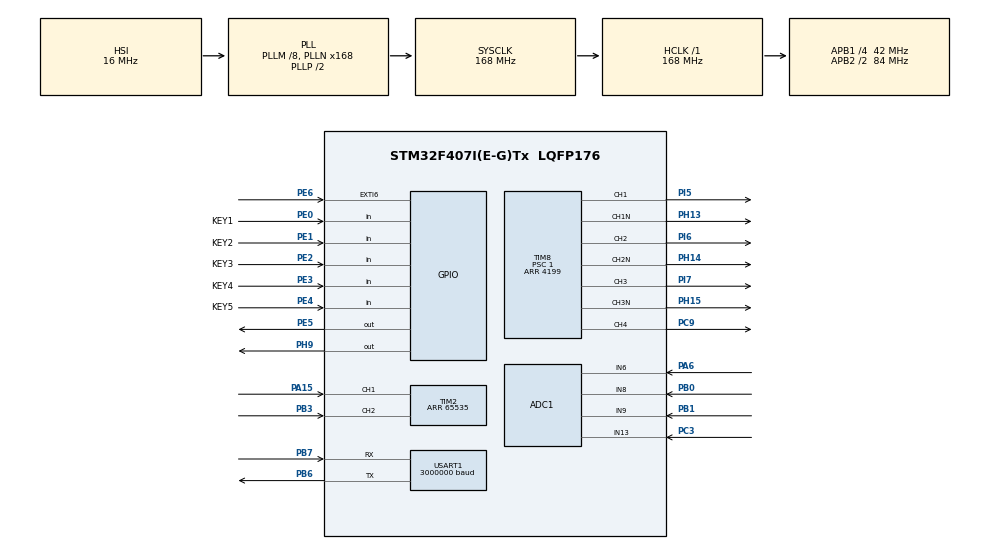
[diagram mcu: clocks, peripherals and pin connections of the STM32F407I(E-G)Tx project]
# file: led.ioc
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ADC1.Channel-0\#ChannelRegularConversion=ADC_CHANNEL_13
ADC1.Channel-10\#ChannelInjectedConversion=ADC_CHANNEL_9
ADC1.Channel-6\#ChannelInjectedConversion=ADC_CHANNEL_6
ADC1.Channel-9\#ChannelInjectedConversion=ADC_CHANNEL_8
ADC1.ContinuousConvMode=DISABLE
ADC1.DMAContinuousRequests=DISABLE
ADC1.EOCSelection=ADC_EOC_SEQ_CONV
ADC1.ExternalTrigConv=ADC_SOFTWARE_START
ADC1.ExternalTrigInjecConv=ADC_EXTERNALTRIGINJECCONV_T8_CC4
ADC1.InjNumberOfConversion=3
ADC1.InjectedOffset-10\#ChannelInjectedConversion=0
ADC1.InjectedOffset-6\#ChannelInjectedConversion=0
ADC1.InjectedOffset-9\#ChannelInjectedConversion=0
ADC1.InjectedRank-10\#ChannelInjectedConversion=3
ADC1.InjectedRank-6\#ChannelInjectedConversion=1
ADC1.InjectedRank-9\#ChannelInjectedConversion=2
ADC1.NbrOfConversion=1
ADC1.NbrOfConversionFlag=1
ADC1.Rank-0\#ChannelRegularConversion=1
ADC1.SamplingTime-0\#ChannelRegularConversion=ADC_SAMPLETIME_15CYCLES
ADC1.SamplingTime-10\#ChannelInjectedConversion=ADC_SAMPLETIME_3CYCLES
ADC1.SamplingTime-6\#ChannelInjectedConversion=ADC_SAMPLETIME_3CYCLES
ADC1.SamplingTime-9\#ChannelInjectedConversion=ADC_SAMPLETIME_3CYCLES
ADC1.ScanConvMode=ENABLE
ADC1.master=1
Mcu.Family=STM32F4
Mcu.Name=STM32F407I(E-G)Tx
Mcu.Package=LQFP176
NVIC.ADC_IRQn=true\:1\:0\:true\:false\:true\:true\:true
NVIC.EXTI9_5_IRQn=true\:0\:0\:false\:false\:true\:true\:true
NVIC.PriorityGroup=NVIC_PRIORITYGROUP_4
NVIC.TIM3_IRQn=true\:1\:0\:true\:false\:true\:true\:true
NVIC.TIM8_UP_TIM13_IRQn=true\:1\:0\:true\:false\:true\:true\:true
NVIC.USART1_IRQn=true\:0\:0\:false\:false\:true\:true\:true
PA13.Mode=Serial_Wire
PA13.Signal=SYS_JTMS-SWDIO
PA14.Mode=Serial_Wire
PA14.Signal=SYS_JTCK-SWCLK
PA15.Signal=S_TIM2_CH1_ETR
PA6.Signal=ADCx_IN6
PB0.Signal=ADCx_IN8
PB1.Signal=ADCx_IN9
PB3.Signal=S_TIM2_CH2
PB6.Mode=Asynchronous
PB6.Signal=USART1_TX
PB7.Mode=Asynchronous
PB7.Signal=USART1_RX
PC3.Signal=ADCx_IN13
PC9.Signal=S_TIM8_CH4
PE0.GPIO_Label=KEY1
PE0.GPIO_PuPd=GPIO_PULLUP
PE0.Signal=GPIO_Input
PE1.GPIO_Label=KEY2
PE1.GPIO_PuPd=GPIO_PULLUP
PE1.Signal=GPIO_Input
PE2.GPIO_Label=KEY3
PE2.GPIO_PuPd=GPIO_PULLUP
PE2.Signal=GPIO_Input
PE3.GPIO_Label=KEY4
PE3.GPIO_PuPd=GPIO_PULLUP
PE3.Signal=GPIO_Input
PE4.GPIO_Label=KEY5
PE4.GPIO_PuPd=GPIO_PULLUP
PE4.Signal=GPIO_Input
PE5.PinState=GPIO_PIN_SET
PE5.Signal=GPIO_Output
PE6.GPIO_PuPd=GPIO_PULLDOWN
PE6.Signal=GPXTI6
PH0-OSC_IN.Mode=HSE-External-Oscillator
PH0-OSC_IN.Signal=RCC_OSC_IN
PH1-OSC_OUT.Mode=HSE-External-Oscillator
PH1-OSC_OUT.Signal=RCC_OSC_OUT
PH10.Signal=S_TIM5_CH1
PH11.Signal=S_TIM5_CH2
PH12.Signal=S_TIM5_CH3
PH13.GPIO_Speed=GPIO_SPEED_FREQ_VERY_HIGH
PH13.Mode=PWM Generation1 CH1 CH1N
PH13.Signal=TIM8_CH1N
PH14.GPIO_Speed=GPIO_SPEED_FREQ_VERY_HIGH
PH14.Mode=PWM Generation2 CH2 CH2N
PH14.Signal=TIM8_CH2N
PH15.GPIO_Speed=GPIO_SPEED_FREQ_VERY_HIGH
PH15.Mode=PWM Generation3 CH3 CH3N
PH15.Signal=TIM8_CH3N
PH9.PinState=GPIO_PIN_SET
PH9.Signal=GPIO_Output
PI5.GPIO_Speed=GPIO_SPEED_FREQ_VERY_HIGH
PI5.Signal=S_TIM8_CH1
PI6.GPIO_Speed=GPIO_SPEED_FREQ_VERY_HIGH
PI6.Signal=S_TIM8_CH2
PI7.GPIO_Speed=GPIO_SPEED_FREQ_VERY_HIGH
PI7.Signal=S_TIM8_CH3
ProjectManager.HeapSize=0x200
ProjectManager.StackSize=0x400
ProjectManager.TargetToolchain=MDK-ARM V5
RCC.48MHZClocksFreq_Value=84000000
RCC.AHBFreq_Value=168000000
RCC.APB1CLKDivider=RCC_HCLK_DIV4
RCC.APB1Freq_Value=42000000
RCC.APB1TimFreq_Value=84000000
RCC.APB2CLKDivider=RCC_HCLK_DIV2
RCC.APB2Freq_Value=84000000
RCC.APB2TimFreq_Value=168000000
RCC.CortexFreq_Value=168000000
RCC.HCLKFreq_Value=168000000
RCC.HSE_VALUE=25000000
RCC.HSI_VALUE=16000000
RCC.LSE_VALUE=32768
RCC.PLLM=8
RCC.PLLN=168
RCC.SYSCLKFreq_VALUE=168000000
RCC.SYSCLKSource=RCC_SYSCLKSOURCE_PLLCLK
RCC.VCOOutputFreq_Value=336000000
SH.ADCx_IN13.0=ADC1_IN13,IN13
SH.ADCx_IN6.0=ADC1_IN6,IN6
SH.ADCx_IN8.0=ADC2_IN8
SH.ADCx_IN8.1=ADC1_IN8,IN8
SH.ADCx_IN9.0=ADC2_IN9
SH.ADCx_IN9.1=ADC1_IN9,IN9
SH.S_TIM2_CH1_ETR.0=TIM2_CH1,Encoder_Interface
SH.S_TIM2_CH2.0=TIM2_CH2,Encoder_Interface
SH.S_TIM5_CH1.0=TIM5_CH1
SH.S_TIM5_CH2.0=TIM5_CH2
SH.S_TIM5_CH3.0=TIM5_CH3
SH.S_TIM8_CH1.0=TIM8_CH1,PWM Generation1 CH1 CH1N
SH.S_TIM8_CH2.0=TIM8_CH2,PWM Generation2 CH2 CH2N
SH.S_TIM8_CH3.0=TIM8_CH3,PWM Generation3 CH3 CH3N
SH.S_TIM8_CH4.0=TIM8_CH4,PWM Generation4 CH4
TIM2.EncoderMode=TIM_ENCODERMODE_TI12
TIM2.Period=65535
TIM3.Period=999
TIM3.Prescaler=83
TIM8.AutomaticOutput=TIM_AUTOMATICOUTPUT_ENABLE
TIM8.Channel-PWM\ Generation1\ CH1\ CH1N=TIM_CHANNEL_1
TIM8.Channel-PWM\ Generation2\ CH2\ CH2N=TIM_CHANNEL_2
TIM8.Channel-PWM\ Generation3\ CH3\ CH3N=TIM_CHANNEL_3
TIM8.Channel-PWM\ Generation4\ CH4=TIM_CHANNEL_4
TIM8.CounterMode=TIM_COUNTERMODE_CENTERALIGNED1
TIM8.DeadTime=5
TIM8.OC1Preload_PWM=DISABLE
TIM8.OC2Preload_PWM=DISABLE
TIM8.OC3Preload_PWM=DISABLE
TIM8.OC4Preload_PWM=ENABLE
TIM8.OCMode_PWM-PWM\ Generation1\ CH1\ CH1N=TIM_OCMODE_PWM1
TIM8.OCMode_PWM-PWM\ Generation2\ CH2\ CH2N=TIM_OCMODE_PWM1
TIM8.OCMode_PWM-PWM\ Generation3\ CH3\ CH3N=TIM_OCMODE_PWM1
TIM8.OCMode_PWM-PWM\ Generation4\ CH4=TIM_OCMODE_PWM2
TIM8.OffStateIDLEMode=TIM_OSSI_ENABLE
TIM8.OffStateRunMode=TIM_OSSR_ENABLE
TIM8.Period=4199
TIM8.Prescaler=1
TIM8.Pulse-PWM\ Generation4\ CH4=0
TIM8.RepetitionCounter=0
TIM8.TIM_MasterOutputTrigger=TIM_TRGO_UPDATE
USART1.BaudRate=3000000
USART1.OverSampling=UART_OVERSAMPLING_8
USART1.VirtualMode=VM_ASYNC
VP_TIM3_VS_ClockSourceINT.Mode=Internal
VP_TIM8_VS_ClockSourceINT.Mode=Internal
board=custom

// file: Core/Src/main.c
/* USER CODE BEGIN Header */
/**
  ******************************************************************************
  * @file           : main.c
  * @brief          : Main program body
  ******************************************************************************
  * @attention
  *
  * Copyright (c) 2023 STMicroelectronics.
  * All rights reserved.
  *
  * This software is licensed under terms that can be found in the LICENSE file
  * in the root directory of this software component.
  * If no LICENSE file comes with this software, it is provided AS-IS.
  *
  ******************************************************************************
  */
/* USER CODE END Header */
#include "main.h"
#include "adc.h"
#include "tim.h"
#include "usart.h"
#include "gpio.h"

/* USER CODE BEGIN Includes */
  #include "bsp_key.h"
  #include "arm_math.h"
#include "FOC.h"
 #include "UART_VOFA.h"

/* USER CODE END Includes */

/* USER CODE BEGIN PTD */
float F_theta=0,J_theta=0;;
uint8_t start_flag=0;

/* USER CODE END PTD */

void SystemClock_Config(void);
/* USER CODE BEGIN PFP */
 void adc_offset(void);

/* USER CODE END PFP */

int main(void)
{

  /* MCU Configuration--------------------------------------------------------*/

  /* Reset of all peripherals, Initializes the Flash interface and the Systick. */
  HAL_Init();

  /* Configure the system clock */
  SystemClock_Config();

  /* Initialize all configured peripherals */
  MX_GPIO_Init();
  MX_USART1_UART_Init();
  MX_TIM8_Init();
  MX_TIM2_Init();
  MX_TIM3_Init();
  MX_ADC1_Init();
  /* USER CODE BEGIN 2 */
	//KEY_GPIO_Init();

	 FOC_Init();
   /* USER CODE END 2 */

  /* Infinite loop */
  while (1)
  {

    /* USER CODE BEGIN 3 */

  // OLED_ShowNum(20,2,2,2,16);

  	 		if(key1==0)
		{	  NVIC_SystemReset();
					//HAL_GPIO_TogglePin(GPIOE, GPIO_PIN_5);
		}
			 		if(key2==0)
		{
			// pwm_off
				HAL_Delay(10);
			while(key2==0);
			start_flag=2;

		}
			   	if(key5==0)
		{
					HAL_Delay(10);
			while(key5==0);
      Motor_Disable();

		}
					if(key3==0)
		{
					HAL_Delay(10);
			while(key3==0);
      Q_PID.tar+=0.4;
		}

	   	if(key4==0)
		{
					HAL_Delay(10);
			while(key4==0);

      Q_PID.tar-=0.4;

		}

 }
  /* USER CODE END 3 */
}

void SystemClock_Config(void)
{
  RCC_OscInitTypeDef RCC_OscInitStruct = {0};
  RCC_ClkInitTypeDef RCC_ClkInitStruct = {0};

  /** Configure the main internal regulator output voltage
  */
  __HAL_RCC_PWR_CLK_ENABLE();
  __HAL_PWR_VOLTAGESCALING_CONFIG(PWR_REGULATOR_VOLTAGE_SCALE1);
  /** Initializes the RCC Oscillators according to the specified parameters
  * in the RCC_OscInitTypeDef structure.
  */
  RCC_OscInitStruct.OscillatorType = RCC_OSCILLATORTYPE_HSI;
  RCC_OscInitStruct.HSIState = RCC_HSI_ON;
  RCC_OscInitStruct.HSICalibrationValue = RCC_HSICALIBRATION_DEFAULT;
  RCC_OscInitStruct.PLL.PLLState = RCC_PLL_ON;
  RCC_OscInitStruct.PLL.PLLSource = RCC_PLLSOURCE_HSI;
  RCC_OscInitStruct.PLL.PLLM = 8;
  RCC_OscInitStruct.PLL.PLLN = 168;
  RCC_OscInitStruct.PLL.PLLP = RCC_PLLP_DIV2;
  RCC_OscInitStruct.PLL.PLLQ = 4;
  if (HAL_RCC_OscConfig(&RCC_OscInitStruct) != HAL_OK)
  {
    Error_Handler();
  }
  /** Initializes the CPU, AHB and APB buses clocks
  */
  RCC_ClkInitStruct.ClockType = RCC_CLOCKTYPE_HCLK|RCC_CLOCKTYPE_SYSCLK
                              |RCC_CLOCKTYPE_PCLK1|RCC_CLOCKTYPE_PCLK2;
  RCC_ClkInitStruct.SYSCLKSource = RCC_SYSCLKSOURCE_PLLCLK;
  RCC_ClkInitStruct.AHBCLKDivider = RCC_SYSCLK_DIV1;
  RCC_ClkInitStruct.APB1CLKDivider = RCC_HCLK_DIV4;
  RCC_ClkInitStruct.APB2CLKDivider = RCC_HCLK_DIV2;

  if (HAL_RCC_ClockConfig(&RCC_ClkInitStruct, FLASH_LATENCY_5) != HAL_OK)
  {
    Error_Handler();
  }
}

/* USER CODE BEGIN 4 */

void HAL_TIM_PeriodElapsedCallback(TIM_HandleTypeDef *htim)//100us
{
 	  static int num=0;
	  static uint8_t jk=0;
	  static short encoder_now=0,encoder_last=0;
		if (htim->Instance == TIM8)
	{
		num++;
    if(num>=10)
		{
					num=0;
					if(jk==1)
					{
									encoder_now= TIM2->CNT ;
									if(encoder_now-encoder_last>-2000&&encoder_now-encoder_last<2000)//前后相差很大的编码值就不要了
										{
											MOTOR_FOC.RPM=(encoder_now-encoder_last)*15;//(encoder_now-encoder_last)*60*1000/4000
											MOTOR_FOC.WE=pair*MOTOR_FOC.RPM*_2PI/60;
										}
						     //  MOTOR_FOC.WE=4*calculate_motor_speed( _2PI*encoder_now/4000.0 ,   _2PI*encoder_last /4000.0,  0.001) ;

 									encoder_last=encoder_now;

					}
					else //只会计算一次
					{
								 encoder_last=TIM2->CNT;
								 jk=1;
					}

		}

 }
}
void HAL_ADCEx_InjectedConvCpltCallback(ADC_HandleTypeDef* hadc)
{

 	    if(start_flag==1) //有感
		 {

			get_current(&MOTOR_FOC);
			motor_angle.radian=get_angle(&motor_angle);

			CLARKE_PARK(&MOTOR_FOC ,&motor_angle );

			MOTOR_FOC.Ud= PID_i(&D_PID);
			MOTOR_FOC.Uq= PID_i(&Q_PID);

			InversePark(&MOTOR_FOC ,&motor_angle );
			SVPWM_Generate(&MOTOR_FOC );

			Luenberger_Observer(&MOTOR_FOC, &Luenberger_member);

 		 }
     else //切换无感
		 {
			get_current(&MOTOR_FOC);
			motor_angle.radian= Luenberger_PLL.Theta_fore_now;
			CLARKE_PARK(&MOTOR_FOC ,&motor_angle );

			MOTOR_FOC.Ud= PID_i(&D_PID);
			MOTOR_FOC.Uq= PID_i(&Q_PID);
			InversePark(&MOTOR_FOC ,&motor_angle );
			SVPWM_Generate(&MOTOR_FOC );

			Luenberger_Observer(&MOTOR_FOC, &Luenberger_member);

		 }

 sdu[0]=Luenberger_PLL.Theta_fore_now;
 sdu[1]=motor_angle.radian;

   UploadData_vofa(sdu,2);
////     HAL_GPIO_WritePin(GPIOE, GPIO_PIN_5, GPIO_PIN_SET);

}

 void HAL_GPIO_EXTI_Callback(uint16_t GPIO_Pin)
{
	static uint8_t first_flag=0;
 	if(GPIO_Pin == GPIO_PIN_6)
		{
			if(first_flag==0)
			{
				  first_flag=1;
				  motor_angle.first_encoder=__HAL_TIM_GET_COUNTER(&htim2);
 			    __HAL_TIM_SetCounter(&htim2,0);
			}
			else
			{
				 __HAL_TIM_SetCounter(&htim2,0);
 			}
  	}
	 __HAL_GPIO_EXTI_CLEAR_IT(GPIO_PIN_6);

}

/* USER CODE END 4 */

void Error_Handler(void)
{
  __disable_irq();
  while (1)
  {
  }
}
